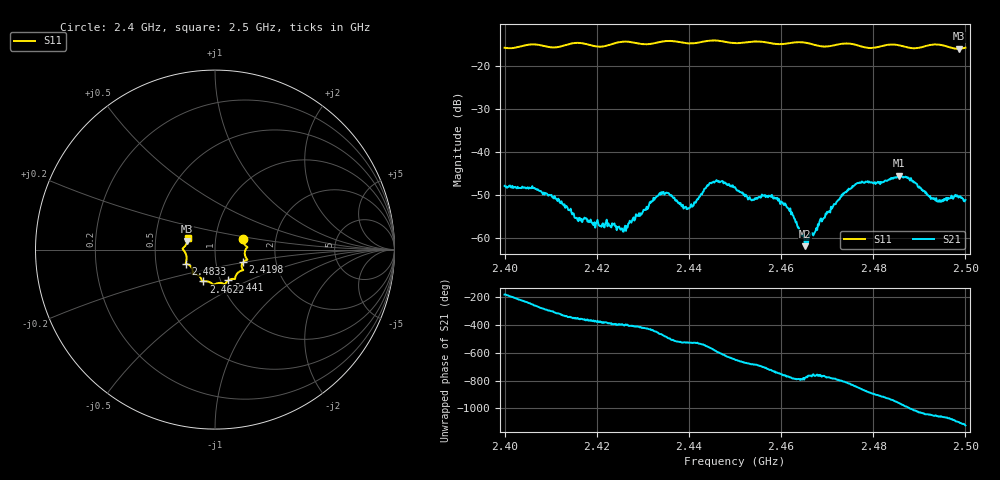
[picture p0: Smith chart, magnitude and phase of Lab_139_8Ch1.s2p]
# Hz S RI R 50
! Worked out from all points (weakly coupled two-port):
!   601 points, 2.4 GHz to 2.5 GHz, reference 50 ohm
!   highest |S21| = -45.50 dB at 2.4855 GHz (marker M1); lowest = -61.9 dB at 2.4652 GHz (marker M2)
!   lowest |S11| = -15.9 dB at 2.4987 GHz (marker M3), VSWR 1.38, Z = 36.5 + j3.46 ohm
!   |S11| at or under -10 dB: start of sweep to end of sweep
!   S12 and S22 are empty: the file has one direction only
!   S11 on the Smith chart (normalised r, x): 2.4 GHz: 1.35, +0.16; 2.4198 GHz: 1.36, -0.20; 2.441 GHz: 1.09, -0.39; 2.4622 GHz: 0.83, -0.30; 2.4833 GHz: 0.71, -0.12; 2.5 GHz: 0.73, +0.10
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2.4e9  0.1541 0.0593  -0.00404 -1.77e-05  0 0  0 0
2.4065e9  0.1804 0.0138  -0.000689 0.00376  0 0  0 0
2.416667e9  0.1784 -0.057  0.00165 0.000153  0 0  0 0
2.419833e9  0.1565 -0.0699  0.00143 -0.000328  0 0  0 0
2.426167e9  0.1578 -0.1147  0.0011 -0.000837  0 0  0 0
2.433333e9  0.1131 -0.1541  -0.000232 -0.00312  0 0  0 0
2.435667e9  0.1117 -0.1644  -0.00232 -0.00234  0 0  0 0
2.439333e9  0.0912 -0.1637  -0.00225 -0.000536  0 0  0 0
2.441e9  0.0751 -0.1708  -0.00233 -0.000554  0 0  0 0
2.444833e9  0.0556 -0.193  -0.00384 0.002  0 0  0 0
2.45e9  0.025 -0.1855  0.00122 0.0037  0 0  0 0
2.453333e9  -0.00288 -0.1938  0.00214 0.00182  0 0  0 0
2.459e9  -0.0339 -0.1796  0.0027 -0.00099  0 0  0 0
2.462167e9  -0.0644 -0.1772  0.00103 -0.00157  0 0  0 0
2.465167e9  -0.0736 -0.1751  0.00039 -0.000698  0 0  0 0
2.466667e9  -0.0755 -0.1661  0.00075 -0.000859  0 0  0 0
2.476e9  -0.1238 -0.1305  -0.00205 -0.00359  0 0  0 0
2.483333e9  -0.1615 -0.0785  -0.00417 0.00233  0 0  0 0
2.4855e9  -0.1622 -0.0716  -0.00262 0.00462  0 0  0 0
2.494e9  -0.1803 0.00558  0.0024 0.00113  0 0  0 0
2.498667e9  -0.1539 0.0461  0.00288 -0.000998  0 0  0 0
2.5e9  -0.1526 0.065  0.00204 -0.00187  0 0  0 0
